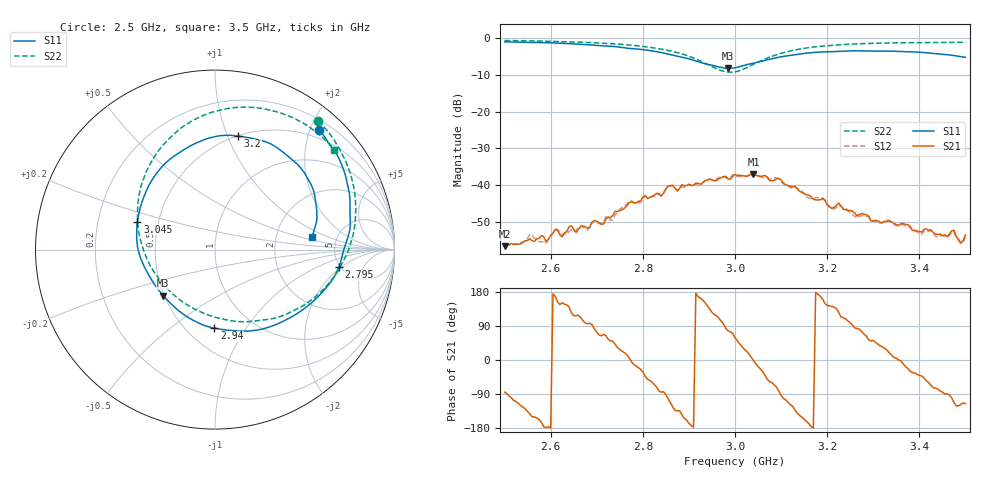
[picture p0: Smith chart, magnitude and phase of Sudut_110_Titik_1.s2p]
# Hz S RI R 50
! CMT, C1220, 16058040, 17.2.0/1
! Date: 15/08/2018 09:47:29
! Data: Format (Calibration Info)
! Freq  S11: Re/Im (F2)  S21: Re/Im (F2)  S12: Re/Im (F2)  S22: Re/Im (F2)
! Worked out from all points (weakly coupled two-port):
!   201 points, 2.5 GHz to 3.5 GHz, reference 50 ohm
!   highest |S21| = -37.03 dB at 3.04 GHz (marker M1); lowest = -56.5 dB at 2.5 GHz (marker M2)
!   lowest |S11| = -8.3 dB at 2.985 GHz (marker M3), VSWR 2.25, Z = 24.7 - j14.9 ohm
!   |S11| at or under -10 dB: nowhere
!   |S22| runs from -9.3 to -0.7 dB; largest |S21 - S12| = 0.0011
!   S11 on the Smith chart (normalised r, x): 2.5 GHz: 0.35, +2.14; 2.795 GHz: 4.87, -1.85; 2.94 GHz: 0.68, -0.73; 3.045 GHz: 0.38, +0.15; 3.2 GHz: 0.50, +1.09; 3.5 GHz: 3.25, +0.64
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2.5e9  0.578 0.6671  0.000132 -0.00149  0.000224 -0.00161  0.5758 0.7176
2.555e9  0.6423 0.579  -0.0015 -0.00114  -0.00163 -0.00141  0.6366 0.6485
2.59e9  0.6873 0.5145  -0.00171 -5.84e-05  -0.00166 -0.00018  0.673 0.5959
2.61e9  0.7044 0.4752  -0.00248 0.000544  -0.0024 0.000505  0.6932 0.5615
2.625e9  0.7186 0.4391  -0.00176 0.000971  -0.00181 0.00117  0.7071 0.5349
2.67e9  0.7468 0.3232  -0.000665 0.00273  -0.000431 0.0027  0.7473 0.4443
2.715e9  0.7529 0.1881  0.00116 0.00278  0.00122 0.00292  0.7761 0.3335
2.795e9  0.69 -0.0977  0.00561 -0.00257  0.00524 -0.00247  0.7679 0.0768
2.835e9  0.5919 -0.2441  0.00112 -0.00767  0.00131 -0.00738  0.7059 -0.0806
2.94e9  -0.00282 -0.4377  -0.00941 0.007  -0.00955 0.00685  0.172 -0.4019
2.985e9  -0.288 -0.2563  0.00271 0.0119  0.00218 0.0121  -0.1797 -0.2923
3e9  -0.3596 -0.1577  0.00717 0.012  0.00791 0.0117  -0.279 -0.2032
3.04e9  -0.4354 0.1204  0.0141 -0.000348  0.0144 0.000184  -0.4253 0.0986
3.045e9  -0.4323 0.1557  0.0134 -0.00223  0.0143 -0.00222  -0.431 0.1394
3.105e9  -0.2638 0.493  -0.00209 -0.0105  -0.00226 -0.0102  -0.3243 0.5386
3.17e9  0.0133 0.6324  -0.00647 -6.43e-05  -0.00647 -0.000609  -0.0701 0.7458
3.2e9  0.1287 0.6319  -0.00444 0.00323  -0.00435 0.00348  0.0435 0.7803
3.335e9  0.4813 0.4497  0.00313 0.00106  0.00321 0.00091  0.4183 0.7413
3.405e9  0.5543 0.3077  0.00173 -0.00155  0.00156 -0.00149  0.5434 0.6698
3.475e9  0.559 0.1305  -0.000916 -0.00229  -0.000814 -0.00221  0.637 0.589
3.49e9  0.5478 0.0925  -0.000757 -0.00146  -0.0009 -0.00144  0.6542 0.5702
3.5e9  0.5397 0.0691  -0.000898 -0.00191  -0.000935 -0.00172  0.6656 0.5576
